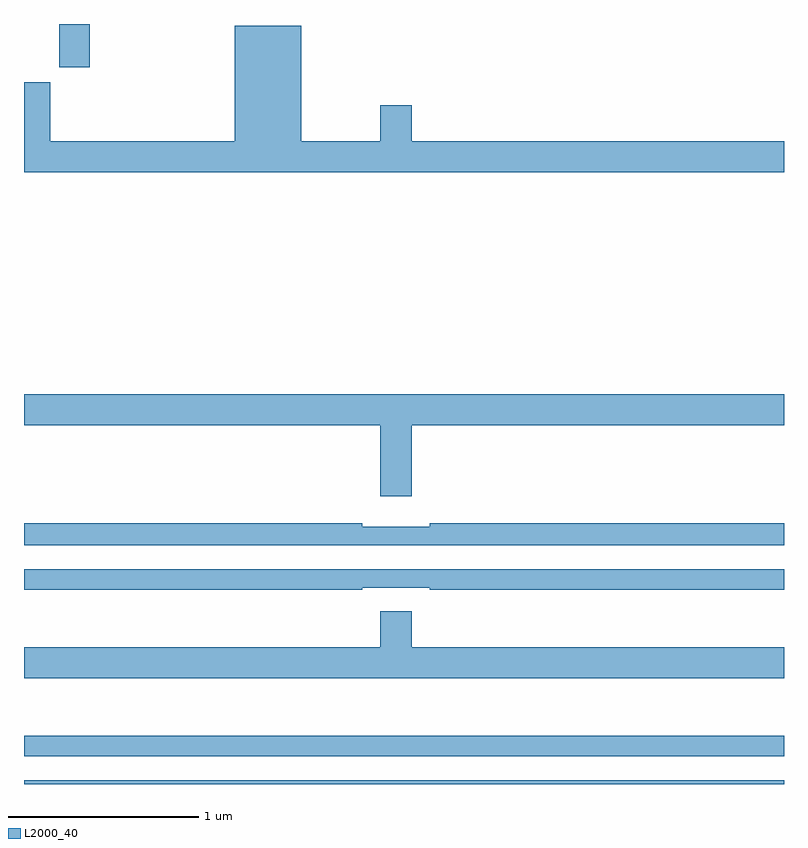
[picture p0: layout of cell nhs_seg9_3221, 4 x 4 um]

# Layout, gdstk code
import gdstk
lib = gdstk.Library(unit=1e-6, precision=1e-09)
def R(c, l, rs):  # rectangles x0, y0, x1, y1
    for r in rs: c.add(gdstk.rectangle(r[:2], r[2:], *l))
def P(c, l, *ps):  # polygons
    for p in ps: c.add(gdstk.Polygon(p, *l))
L2000_40 = (2000, 40)

nhs_seg9_3221 = lib.new_cell('nhs_seg9_3221')
R(nhs_seg9_3221, L2000_40, [(295,1226.5,299,1226.52), (295,1226.646,299,1226.755), (295.186,1230.273,295.346,1230.5)])
P(nhs_seg9_3221, L2000_40, [(299,1229.884),(297.04,1229.884),(297.04,1230.073),(296.876,1230.073),(296.876,1229.884),(296.458,1229.884),(296.458,1230.49),(296.108,1230.49),(296.108,1229.884),(295.138,1229.884),(295.138,1230.193),(295,1230.193),(295,1229.72),(299,1229.72)],
  [(297.04,1228.388),(299,1228.388),(299,1228.552),(295,1228.552),(295,1228.388),(296.876,1228.388),(296.876,1228.014),(297.04,1228.014)],
  [(299,1227.872),(297.136,1227.872),(297.136,1227.853),(296.78,1227.853),(296.78,1227.872),(295,1227.872),(295,1227.756),(299,1227.756)],
  [(296.78,1227.534),(297.136,1227.534),(297.136,1227.522),(299,1227.522),(299,1227.63),(295,1227.63),(295,1227.522),(296.78,1227.522)],
  [(299,1227.22),(297.04,1227.22),(297.04,1227.409),(296.876,1227.409),(296.876,1227.22),(295,1227.22),(295,1227.056),(299,1227.056)])

lib.write_gds('nhs_seg9_3221.gds')
